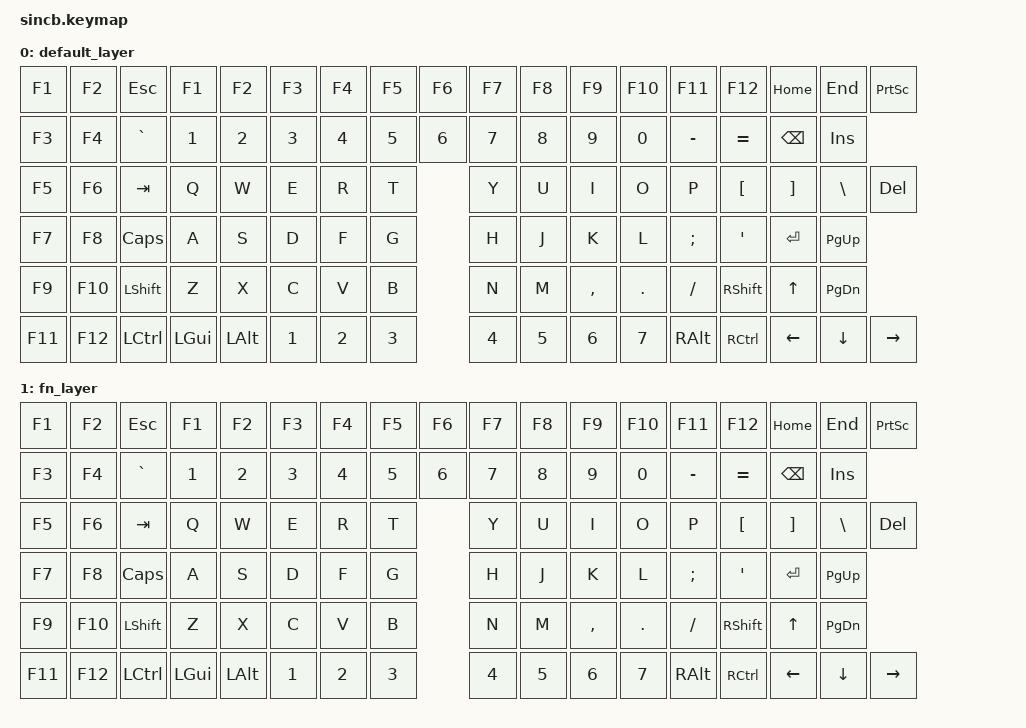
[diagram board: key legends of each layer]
/*
 * Copyright (c) 2020 The ZMK Contributors
 *
 * SPDX-License-Identifier: MIT
 */

#include <behaviors.dtsi>
#include <dt-bindings/zmk/bt.h>
#include <dt-bindings/zmk/keys.h>

/ {
    keymap {
        compatible = "zmk,keymap";

// ----------------------------------------------      -----------------------------------------------------
// | ESC  |  1   |  2  |  3   |  4  |  5  |  6  |      |  7  |  8  |  9  |  0  |  -  |  =  |  BKSPC |  `   |
// | TAB   |  Q   |  W  |  E   |  R  |  T  |        |  Y  |  U  |  I  |  O  |  P  |  [  |  ]  |  \  | DEL  |
// | LCTRL  |  A   |  S  |  D   |  F  |  G  |        |  H  |  J  |  K  |  L  |  ;  |  '  |   ENTER  | PGUP |
// | SHIFT   |  Z   |  X  |  C  |  V   |  B  |        |  N  |  M  |  ,  |  .  |  /  |  RSHFT  |  UP | PGDN |
// | LCTRL   | LGUI | LALT |   SPACE   | FN  |        |    SPACE    | RALT | FN | RCTRL | LFT | DWN | RGHT |
// -------------------------------------------        ------------------------------------------------------

        default_layer {
            bindings = <
    &kp F1   &kp F2     &kp ESC    &kp F1    &kp F2    &kp F3  &kp F4  &kp F5  &kp F6           &kp F7  &kp F8  &kp F9     &kp F10  &kp F11    &kp F12    &kp HOME   &kp END    &kp PRINTSCREEN
    &kp F3   &kp F4     &kp GRAVE  &kp N1    &kp N2    &kp N3  &kp N4  &kp N5  &kp N6           &kp N7  &kp N8  &kp N9     &kp N0   &kp MINUS  &kp EQUAL  &kp BSPC   &kp INS
    &kp F5   &kp F6     &kp TAB    &kp Q     &kp W     &kp E   &kp R   &kp T                    &kp Y   &kp U   &kp I      &kp O    &kp P      &kp LBKT   &kp RBKT   &kp BSLH   &kp DEL
    &kp F7   &kp F8     &kp CAPS   &kp A     &kp S     &kp D   &kp F   &kp G                    &kp H   &kp J   &kp K      &kp L    &kp SEMI   &kp APOS   &kp ENTER  &kp PG_UP
    &kp F9   &kp F10    &kp LSHFT  &kp Z     &kp X     &kp C   &kp V   &kp B                    &kp N   &kp M   &kp COMMA  &kp DOT  &kp FSLH   &kp RSHFT  &kp UP     &kp PG_DN
    &kp F11  &kp F12    &kp LCTRL  &kp LGUI  &kp LALT  &kp N1  &kp N2  &kp N3                   &kp N4  &kp N5  &kp N6     &kp N7   &kp RALT   &kp RCTRL  &kp LEFT   &kp DOWN   &kp RIGHT
            >;
        };

// ----------------------------------------------     -----------------------------------------------------
// |BT_CLR|  F1  |  F2 |  F3  |  F4 |  F5 |  F6 |     |  F7 |  F8 |  F9 | F10 | F11 | F12 |        |BT_CLR|
// |       | BT-0 | BT-1| BT-2 |     |     |       |     |     |     |     |     |     |     |     |      |
// |        |      |     |      |     |     |       |     |     |     |     |     |     |          |      |
// |         |      |     |     |      |     |       |     |     |     |     |     |         |     |      |
// |         |      |      |           |     |       |             |      |    |       |     |     |      |
// -------------------------------------------       ------------------------------------------------------

        fn_layer {
            bindings = <
    &kp F1   &kp F2     &kp ESC    &kp F1    &kp F2    &kp F3  &kp F4  &kp F5  &kp F6           &kp F7  &kp F8  &kp F9     &kp F10  &kp F11    &kp F12    &kp HOME   &kp END    &kp PRINTSCREEN
    &kp F3   &kp F4     &kp GRAVE  &kp N1    &kp N2    &kp N3  &kp N4  &kp N5  &kp N6           &kp N7  &kp N8  &kp N9     &kp N0   &kp MINUS  &kp EQUAL  &kp BSPC   &kp INS
    &kp F5   &kp F6     &kp TAB    &kp Q     &kp W     &kp E   &kp R   &kp T                    &kp Y   &kp U   &kp I      &kp O    &kp P      &kp LBKT   &kp RBKT   &kp BSLH   &kp DEL
    &kp F7   &kp F8     &kp CAPS   &kp A     &kp S     &kp D   &kp F   &kp G                    &kp H   &kp J   &kp K      &kp L    &kp SEMI   &kp APOS   &kp ENTER  &kp PG_UP
    &kp F9   &kp F10    &kp LSHFT  &kp Z     &kp X     &kp C   &kp V   &kp B                    &kp N   &kp M   &kp COMMA  &kp DOT  &kp FSLH   &kp RSHFT  &kp UP     &kp PG_DN
    &kp F11  &kp F12    &kp LCTRL  &kp LGUI  &kp LALT  &kp N1  &kp N2  &kp N3                   &kp N4  &kp N5  &kp N6     &kp N7   &kp RALT   &kp RCTRL  &kp LEFT   &kp DOWN   &kp RIGHT
            >;
        };
    };
};
